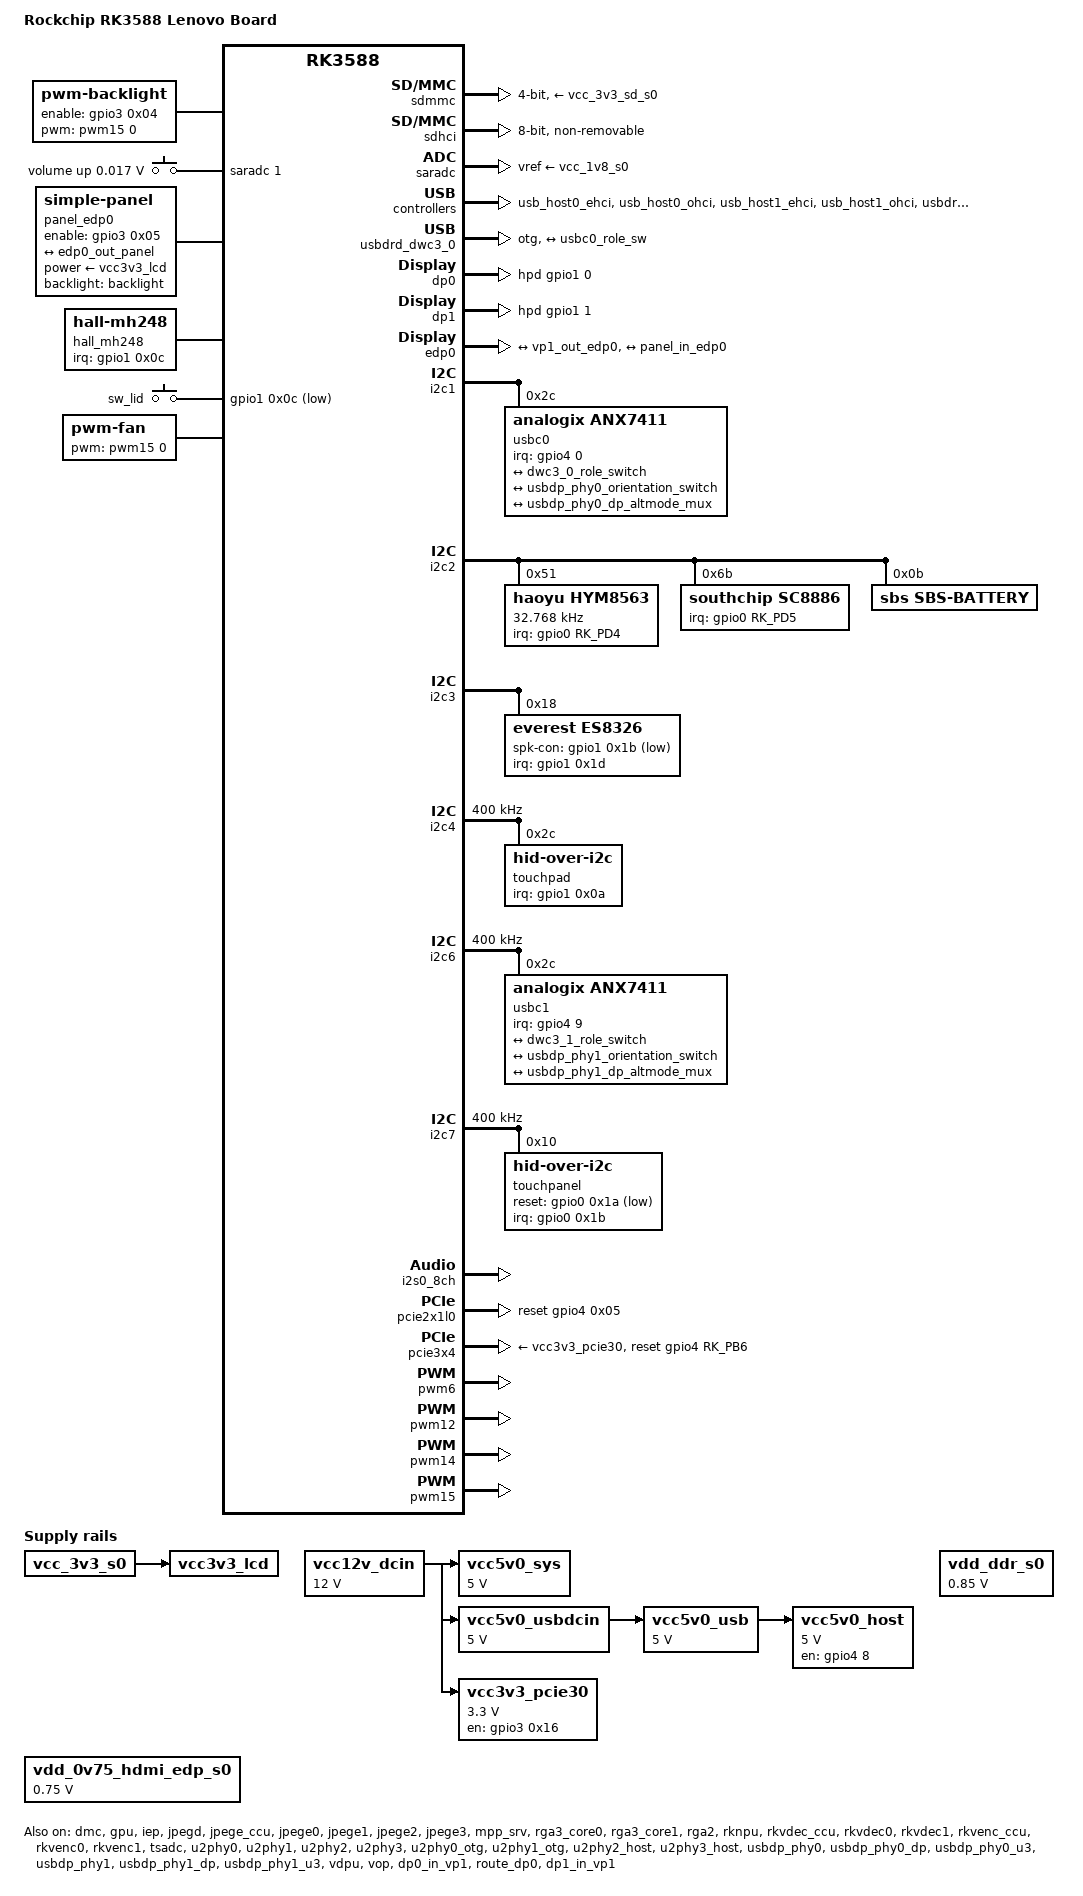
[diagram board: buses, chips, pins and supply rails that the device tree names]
// SPDX-License-Identifier: (GPL-2.0+ OR MIT)
/*
 * Copyright (c) 2021 Rockchip Electronics Co., Ltd.
 *
 */

/dts-v1/;

#include <dt-bindings/gpio/gpio.h>
#include <dt-bindings/pwm/pwm.h>
#include <dt-bindings/pinctrl/rockchip.h>
#include <dt-bindings/input/rk-input.h>
#include <dt-bindings/display/drm_mipi_dsi.h>
#include <dt-bindings/display/rockchip_vop.h>
#include <dt-bindings/sensor-dev.h>
#include "dt-bindings/usb/pd.h"
#include "rk3588.dtsi"
#include "rk3588-rk806-dual.dtsi"
#include "rk3588-linux.dtsi"

/ {
	model = "Rockchip RK3588 Lenovo Board";
	compatible = "rockchip,rk3588-lenovo", "rockchip,rk3588";

	aliases {
		mmc0 = &sdhci;
		mmc1 = &sdio;
		mmc2 = &sdmmc;
		serial0 = &uart0;
		serial1 = &uart1;
		serial2 = &uart2;
		serial3 = &uart3;
		serial4 = &uart4;
		serial5 = &uart5;
		serial6 = &uart6;
		serial7 = &uart7;
		serial8 = &uart8;
		serial9 = &uart9;
	};

	cspmu: cspmu@fd10c000 {
		compatible = "rockchip,cspmu";
		reg = <0x0 0xfd10c000 0x0 0x1000>,
		      <0x0 0xfd10d000 0x0 0x1000>,
		      <0x0 0xfd10e000 0x0 0x1000>,
		      <0x0 0xfd10f000 0x0 0x1000>,
		      <0x0 0xfd12c000 0x0 0x1000>,
		      <0x0 0xfd12d000 0x0 0x1000>,
		      <0x0 0xfd12e000 0x0 0x1000>,
		      <0x0 0xfd12f000 0x0 0x1000>;
	};

	debug: debug@fd104000 {
		compatible = "rockchip,debug";
		reg = <0x0 0xfd104000 0x0 0x1000>,
		      <0x0 0xfd105000 0x0 0x1000>,
		      <0x0 0xfd106000 0x0 0x1000>,
		      <0x0 0xfd107000 0x0 0x1000>,
		      <0x0 0xfd124000 0x0 0x1000>,
		      <0x0 0xfd125000 0x0 0x1000>,
		      <0x0 0xfd126000 0x0 0x1000>,
		      <0x0 0xfd127000 0x0 0x1000>;
	};

	fiq_debugger: fiq-debugger {
		compatible = "rockchip,fiq-debugger";
		rockchip,serial-id = <2>;
		rockchip,wake-irq = <0>;
		/* If enable uart uses irq instead of fiq */
		rockchip,irq-mode-enable = <1>;
		rockchip,baudrate = <1500000>;  /* Only 115200 and 1500000 */
		interrupts = <GIC_SPI 423 IRQ_TYPE_LEVEL_LOW>;
		pinctrl-names = "default";
		pinctrl-0 = <&uart2m1_xfer>;
		status = "okay";
	};

	reserved_memory: reserved-memory {
		#address-cells = <2>;
		#size-cells = <2>;
		ranges;

		cma {
			compatible = "shared-dma-pool";
			reusable;
			reg = <0x0 (256 * 0x100000) 0x0 (128 * 0x100000)>;
			linux,cma-default;
		};

		drm_logo: drm-logo@00000000 {
			compatible = "rockchip,drm-logo";
			reg = <0x0 0x0 0x0 0x0>;
		};

		drm_cubic_lut: drm-cubic-lut@00000000 {
			compatible = "rockchip,drm-cubic-lut";
			reg = <0x0 0x0 0x0 0x0>;
		};
	};

	backlight: backlight {
		compatible = "pwm-backlight";
		brightness-levels = <
			  0  20  20  21  21  22  22  23
			 23  24  24  25  25  26  26  27
			 27  28  28  29  29  30  30  31
			 31  32  32  33  33  34  34  35
			 35  36  36  37  37  38  38  39
			 40  41  42  43  44  45  46  47
			 48  49  50  51  52  53  54  55
			 56  57  58  59  60  61  62  63
			 64  65  66  67  68  69  70  71
			 72  73  74  75  76  77  78  79
			 80  81  82  83  84  85  86  87
			 88  89  90  91  92  93  94  95
			 96  97  98  99 100 101 102 103
			104 105 106 107 108 109 110 111
			112 113 114 115 116 117 118 119
			120 121 122 123 124 125 126 127
			128 129 130 131 132 133 134 135
			136 137 138 139 140 141 142 143
			144 145 146 147 148 149 150 151
			152 153 154 155 156 157 158 159
			160 161 162 163 164 165 166 167
			168 169 170 171 172 173 174 175
			176 177 178 179 180 181 182 183
			184 185 186 187 188 189 190 191
			192 193 194 195 196 197 198 199
			200 201 202 203 204 205 206 207
			208 209 210 211 212 213 214 215
			216 217 218 219 220 221 222 223
			224 225 226 227 228 229 230 231
			232 233 234 235 236 237 238 239
			240 241 242 243 244 245 246 247
			248 249 250 251 252 253 254 255
		>;
		default-brightness-level = <200>;
		status = "okay";
		pwms = <&pwm15 0 25000 0>;
		enable-gpios = <&gpio3 0x04 GPIO_ACTIVE_HIGH>;
	};
	vcc12v_dcin: vcc12v-dcin {
		compatible = "regulator-fixed";
		regulator-name = "vcc12v_dcin";
		regulator-always-on;
		regulator-boot-on;
		regulator-min-microvolt = <12000000>;
		regulator-max-microvolt = <12000000>;
	};
	vcc5v0_sys: vcc5v0-sys {
		compatible = "regulator-fixed";
		regulator-name = "vcc5v0_sys";
		regulator-always-on;
		regulator-boot-on;
		regulator-min-microvolt = <5000000>;
		regulator-max-microvolt = <5000000>;
		vin-supply = <&vcc12v_dcin>;
	};
	vcc5v0_usbdcin: vcc5v0-usbdcin {
		compatible = "regulator-fixed";
		regulator-name = "vcc5v0_usbdcin";
		regulator-always-on;
		regulator-boot-on;
		regulator-min-microvolt = <5000000>;
		regulator-max-microvolt = <5000000>;
		vin-supply = <&vcc12v_dcin>;
	};
	adc_keys: adc-keys {
		compatible = "adc-keys";
		io-channels = <&saradc 1>;
		io-channel-names = "buttons";
		keyup-threshold-microvolt = <1800000>;
		poll-interval = <100>;
		vol-up-key {
			label = "volume up";
			linux,code = <KEY_VOLUMEUP>;
			press-threshold-microvolt = <17000>;
		};
	};
	es8326_sound: es8326-sound {
		status = "okay";
		compatible = "rockchip,multicodecs-card";
		rockchip,card-name = "rockchip,es8326-sound";
		rockchip,codec-hp-det;
		rockchip,format = "i2s";
		rockchip,mclk-fs = <256>;
		rockchip,cpu = <&i2s0_8ch>;
		rockchip,codec = <&es8326>;
	};
	panel_edp0: panel-edp0 {
		compatible = "simple-panel";
		backlight = <&backlight>;
		enable-gpios = <&gpio3 0x05 GPIO_ACTIVE_HIGH>;
		power-supply = <&vcc3v3_lcd>;
		prepare-delay-ms = <210>;
		enable-delay-ms = <50>;
		unprepare-delay-ms = <160>;
		disable-delay-ms = <120>;
		width-mm = <309>;
		height-mm = <174>;
		panel-timing {
			clock-frequency = <160300000>;
			hactive = <2240>;
			vactive = <1400>;
			hfront-porch = <48>;
			hsync-len = <32>;
			hback-porch = <200>;
			vfront-porch = <3>;
			vsync-len = <5>;
			vback-porch = <60>;
			hsync-active = <0>;
			vsync-active = <0>;
			de-active = <0>;
			pixelclk-active = <0>;
		};
		port {
			panel_in_edp0: endpoint {
				remote-endpoint = <&edp0_out_panel>;
			};
		};
	};
	hall_mh248: hall-mh248 {
		compatible = "hall-mh248";
		pinctrl-names = "default";
		pinctrl-0 = <&mh248_irq_gpio>;
		irq-gpio = <&gpio1 0x0c IRQ_TYPE_LEVEL_LOW>;
		hall-active = <0x00000000>;
		status = "okay";
	};

	hdmi1_sound: hdmi1-sound {
		status = "disabled";
		compatible = "simple-audio-card";
		simple-audio-card,format = "i2s";
		simple-audio-card,mclk-fs = <238>;
		simple-audio-card,name = "rockchip,hdmi1";
		simple-audio-card,cpu {
			sound-dai = <&i2s6_8ch>;
		};
		simple-audio-card,codec {
			sound-dai = <&hdmi1>;
		};

	};

	test_power: test-power {
		status = "okay";
	};
	vcc3v3_pcie30: vcc3v3-pcie30 {
		compatible = "regulator-fixed";
		regulator-name = "vcc3v3_pcie30";
		regulator-min-microvolt = <3300000>;
		regulator-max-microvolt = <3300000>;
		enable-active-high;
		gpios = <&gpio3 0x16 GPIO_ACTIVE_HIGH>;
		startup-delay-us = <5000>;
		vin-supply = <&vcc12v_dcin>;
	};
	vcc5v0_usb: vcc5v0-usb {
		compatible = "regulator-fixed";
		regulator-name = "vcc5v0_usb";
		regulator-always-on;
		regulator-boot-on;
		regulator-min-microvolt = <5000000>;
		regulator-max-microvolt = <5000000>;
		vin-supply = <&vcc5v0_usbdcin>;
	};
	vcc3v3_lcd: vcc3v3-lcd {
		compatible = "regulator-fixed";
		regulator-name = "vcc3v3_lcd";
		vin-supply = <&vcc_3v3_s0>;
	};
	vcc5v0_host: vcc5v0-host {
		compatible = "regulator-fixed";
		regulator-name = "vcc5v0_host";
		regulator-boot-on;
		regulator-always-on;
		regulator-min-microvolt = <5000000>;
		regulator-max-microvolt = <5000000>;
		enable-active-high;
		gpio = <&gpio4 8 GPIO_ACTIVE_HIGH>;
		vin-supply = <&vcc5v0_usb>;
		pinctrl-names = "default";
		pinctrl-0 = <&vcc5v0_host_en>;
	};
	gpio_keys: gpio-keys {
		compatible = "gpio-keys";
		pinctrl-names = "default";
		pinctrl-0 = <&sw_lid>;
		hall-sensor {
			wakeup-event-action = <2>;
			wakeup-source;
			gpios = <&gpio1 0x0c GPIO_ACTIVE_LOW>;
			debounce-interval = <20>;
			label = "sw_lid";
			linux,input-type = <5>;
			linux,code = <KEY_RESERVED>;
		};
	};
	fan: pwm-fan {
		compatible = "pwm-fan";
		cooling-min-state = <0>;
		cooling-max-state = <3>;
		#cooling-cells = <2>;
		pwms = <&pwm15 0 50000 0>;
		cooling-levels = <0 50 100 150 200 255>;
		rockchip,temp-trips = <
			50000	1
			55000	2
			60000	3
			65000	4
			70000	5
		>;
	};
};

&cpu_l0 {
	cpu-supply = <&vdd_cpu_lit_s0>;
	mem-supply = <&vdd_cpu_lit_mem_s0>;
};

&cpu_b0 {
	cpu-supply = <&vdd_cpu_big0_s0>;
	mem-supply = <&vdd_cpu_big0_mem_s0>;
};

&cpu_b2 {
	cpu-supply = <&vdd_cpu_big1_s0>;
	mem-supply = <&vdd_cpu_big1_mem_s0>;
};

&dmc {
	auto-freq-en = <1>;
	status = "okay";
};

&sdmmc {
	max-frequency = <150000000>;
	status = "okay";
	no-sdio;
	no-mmc;
	bus-width = <4>;
	cap-mmc-highspeed;
	cap-sd-highspeed;
	disable-wp;
	sd-uhs-sdr104;
	vmmc-supply = <&vcc_3v3_sd_s0>;
	vqmmc-supply = <&vccio_sd_s0>;
};

&sdhci {
	bus-width = <8>;
	no-sdio;
	no-sd;
	non-removable;
	max-frequency = <200000000>;
	status = "okay";
};

&gpu {
	mali-supply = <&vdd_gpu_s0>;
	mem-supply = <&vdd_gpu_mem_s0>;
	status = "okay";
};

&iep {
	status = "okay";
};

&iep_mmu {
	status = "okay";
};

&jpegd {
	status = "okay";
};

&jpegd_mmu {
	status = "okay";
};

&jpege_ccu {
	status = "okay";
};

&jpege0 {
	status = "okay";
};

&jpege0_mmu {
	status = "okay";
};

&jpege1 {
	status = "okay";
};

&jpege1_mmu {
	status = "okay";
};

&jpege2 {
	status = "okay";
};

&jpege2_mmu {
	status = "okay";
};

&jpege3 {
	status = "okay";
};

&jpege3_mmu {
	status = "okay";
};

&mpp_srv {
	status = "okay";
};

&rga3_core0 {
	status = "okay";
};

&rga3_0_mmu {
	status = "okay";
};

&rga3_core1 {
	status = "okay";
};

&rga3_1_mmu {
	status = "okay";
};

&rga2 {
	status = "okay";
};

&rknpu {
	rknpu-supply = <&vdd_npu_s0>;
	mem-supply = <&vdd_npu_mem_s0>;
	status = "okay";
};

&rknpu_mmu {
	status = "okay";
};

&rkvdec_ccu {
	status = "okay";
};

&rkvdec0 {
	status = "okay";
};

&rkvdec0_mmu {
	status = "okay";
};

&rkvdec1 {
	status = "okay";
};

&rkvdec1_mmu {
	status = "okay";
};

&rkvenc_ccu {
	status = "okay";
};

&rkvenc0 {
	status = "okay";
};

&rkvenc0_mmu {
	status = "okay";
};

&rkvenc1 {
	status = "okay";
};

&rkvenc1_mmu {
	status = "okay";
};

&rockchip_suspend {
	status = "disabled";
	rockchip,sleep-debug-en = <1>;
};

&saradc {
	status = "okay";
	vref-supply = <&vcc_1v8_s0>;
};

&tsadc {
	status = "okay";
};

&u2phy0 {
	status = "okay";
};

&u2phy1 {
	status = "okay";
};

&u2phy2 {
	status = "okay";
};

&u2phy3 {
	status = "okay";
};

&u2phy0_otg {
	dr_mode = "otg";
	status = "okay";
};

&u2phy1_otg {
	status = "okay";
};

&u2phy2_host {
	status = "okay";
};

&u2phy3_host {
	status = "okay";
};

&usb_host0_ehci {
	status = "okay";
};

&usb_host0_ohci {
	status = "okay";
};

&usb_host1_ehci {
	status = "okay";
};

&usb_host1_ohci {
	status = "okay";
};

&usbdp_phy0 {
	orientation-switch;
	svid = <0xff01>;
	sbu1-dc-gpios = <&gpio4 RK_PA4 GPIO_ACTIVE_HIGH>;
	sbu2-dc-gpios = <&gpio4 RK_PA5 GPIO_ACTIVE_HIGH>;
	status = "okay";
	port {
		#address-cells = <1>;
		#size-cells = <0>;
		usbdp_phy0_orientation_switch: endpoint@0 {
			reg = <0>;
			remote-endpoint = <&usbc0_orien_sw>;
		};

		usbdp_phy0_dp_altmode_mux: endpoint@1 {
			reg = <1>;
			remote-endpoint = <&usbc0_dp_altmode_mux>;
		};
	};
};

&usbdp_phy0_dp {
	status = "okay";
};

&usbdp_phy0_u3 {
	status = "okay";
};

&usbdrd3_0 {
	status = "okay";
};

&usbdrd_dwc3_0 {
	dr_mode = "otg";
	status = "okay";
	usb-role-switch;
	port {
		#address-cells = <1>;
		#size-cells = <0>;
		dwc3_0_role_switch: endpoint@0 {
			reg = <0>;
			remote-endpoint = <&usbc0_role_sw>;
		};
	};
};

&usbhost3_0 {
	status = "okay";
};

&usbhost_dwc3_0 {
	status = "okay";
};

&usbdp_phy1 {
	orientation-switch;
	svid = <0xff01>;
	sbu1-dc-gpios = <&gpio4 RK_PA4 GPIO_ACTIVE_HIGH>;
	sbu2-dc-gpios = <&gpio4 RK_PA5 GPIO_ACTIVE_HIGH>;
	status = "okay";

	port {
		#address-cells = <1>;
		#size-cells = <0>;
		usbdp_phy1_orientation_switch: endpoint@0 {
			reg = <0>;
			remote-endpoint = <&usbc1_orien_sw>;
		};

		usbdp_phy1_dp_altmode_mux: endpoint@1 {
			reg = <1>;
			remote-endpoint = <&usbc1_dp_altmode_mux>;
		};

	};
};

&usbdp_phy1_dp {
	status = "okay";
};

&usbdp_phy1_u3 {
	status = "okay";
};

&usbdrd3_1 {
	status = "okay";
};

&usbdrd_dwc3_1 {
	dr_mode = "otg";
	status = "disabled";
	usb-role-switch;
	port {
		#address-cells = <1>;
		#size-cells = <0>;
		dwc3_1_role_switch: endpoint@0 {
			reg = <0>;
			remote-endpoint = <&usbc1_role_sw>;
		};
	};
};

&csi2_dphy0_hw {
	status = "disabled";
};

&csi2_dphy1_hw {
	status = "disabled";
};

&vdpu {
	status = "okay";
};

&vdpu_mmu {
	status = "okay";
};

&vop {
	status = "okay";
};

&vop_mmu {
	status = "okay";
};

/* vp0 & vp1 splice for 8K output */
&vp0 {
	cursor-win-id=<ROCKCHIP_VOP2_CLUSTER0>;
	rockchip,plane-mask = <(1 << ROCKCHIP_VOP2_CLUSTER0 | 1 << ROCKCHIP_VOP2_ESMART0)>;
	rockchip,primary-plane = <ROCKCHIP_VOP2_ESMART0>;
};

&vp1 {
	cursor-win-id=<ROCKCHIP_VOP2_CLUSTER1>;
	rockchip,plane-mask = <(1 << ROCKCHIP_VOP2_CLUSTER1 | 1 << ROCKCHIP_VOP2_ESMART1)>;
	rockchip,primary-plane = <ROCKCHIP_VOP2_ESMART1>;
};

&vp2 {
	cursor-win-id=<ROCKCHIP_VOP2_CLUSTER2>;
	rockchip,plane-mask = <(1 << ROCKCHIP_VOP2_CLUSTER2 | 1 << ROCKCHIP_VOP2_ESMART2)>;
	rockchip,primary-plane = <ROCKCHIP_VOP2_ESMART2>;
};

&vp3 {
	cursor-win-id=<ROCKCHIP_VOP2_CLUSTER3>;
	rockchip,plane-mask = <(1 << ROCKCHIP_VOP2_CLUSTER3 | 1 << ROCKCHIP_VOP2_ESMART3)>;
	rockchip,primary-plane = <ROCKCHIP_VOP2_ESMART3>;
};

&vdd_gpu_s0 {
	regulator-always-on;
};

&vdd_gpu_mem_s0 {
	regulator-always-on;
};

&vdd_ddr_s0 {
	regulator-min-microvolt = <850000>;
	regulator-max-microvolt = <850000>;
};

&vdd_0v75_hdmi_edp_s0 {
	regulator-min-microvolt = <750000>;
	regulator-max-microvolt = <750000>;
};

&dp0 {
	status = "okay";
	pinctrl-names = "default";
	pinctrl-0 = <&dp0_hpd>;
	hpd-gpios = <&gpio1 0 GPIO_ACTIVE_HIGH>;
};

&dp0_in_vp1 {
	status = "okay";
};

&route_dp0 {
	status = "okay";
	connect = <&vp2_out_dp0>;
};


&dp1 {
	status = "okay";
	pinctrl-names = "default";
	pinctrl-0 = <&dp1_hpd>;
	hpd-gpios = <&gpio1 1 GPIO_ACTIVE_HIGH>;
};

&dp1_in_vp1 {
	status = "okay";
};

&route_dp1 {
	status = "okay";
	connect = <&vp2_out_dp1>;
};

&edp0 {
	force-hpd;
	status = "okay";
	ports {
		port@0 {
			edp0_out_vop: endpoint@1 {
				reg = <1>;
				remote-endpoint = <&vp1_out_edp0>;
				status = "okay";
			};
		};
		port@1 {
			reg = <1>;
			edp0_out_panel: endpoint {
				remote-endpoint = <&panel_in_edp0>;
			};
		};
	};
};

&edp0_in_vp0 {
	status = "disabled";
};

&edp0_in_vp1 {
	status = "disabled";
};

&edp0_in_vp2 {
	status = "okay";
};

&u2phy2 {
	status = "okay";
	host-port {
		phy-supply = <&vcc5v0_host>;
	};
};

&u2phy3 {
	status = "okay";
	host-port {
		phy-supply = <&vcc5v0_host>;
	};
};

&hdptxphy0 {
	status = "okay";
	lane-polarity-invert = <0 0 0 0>;
};


&i2c1 {
	pinctrl-names = "default";
	pinctrl-0 = <&i2c1m0_xfer>;
	status = "okay";

	usbc0: anx7411@2c {
		status = "okay";
		compatible = "analogix,anx7411";
		reg = <0x2c>;
		#address-cells = <0x00000001>;
		#size-cells = <0x00000000>;
		interrupt-parent = <&gpio4>;
		interrupts = <0 IRQ_TYPE_LEVEL_LOW>;
		extcon = <&u2phy0>;
		pinctrl-names = "default";
		pinctrl-0 = <&usbc0_int>;


		port {
			#address-cells = <1>;
			#size-cells = <0>;

			usbc0_role_sw: endpoint@0 {
				reg = <0>;
				remote-endpoint = <&dwc3_0_role_switch>;
			};

		};
		usb_con: connector@0 {
			compatible = "usb-c-connector";
			reg = <0x00000000>;
			power-role = "dual";
			data-role = "dual";
			try-power-role = "sink";

			altmodes {
				#address-cells = <1>;
				#size-cells = <0>;

				altmode@0 {
					reg = <0>;
					svid = <0xff01>;
					vdo = <0xffffffff>;
				};
			};

			ports {
				#address-cells = <1>;
				#size-cells = <0>;

				port@0 {
					reg = <0>;
					usbc0_orien_sw: endpoint {
						remote-endpoint = <&usbdp_phy0_orientation_switch>;
					};
				};

				port@1 {
					reg = <1>;
					usbc0_dp_altmode_mux: endpoint {
						remote-endpoint = <&usbdp_phy0_dp_altmode_mux>;
					};
				};
			};
		};
	};
};

&i2c2 {
	status = "okay";

	hym8563: hym8563@51 {
		compatible = "haoyu,hym8563";
		reg = <0x51>;
		#clock-cells = <0>;
		clock-frequency = <32768>;
		clock-output-names = "hym8563";
		pinctrl-names = "default";
		pinctrl-0 = <&hym8563_int>;
		interrupt-parent = <&gpio0>;
		interrupts = <RK_PD4 IRQ_TYPE_LEVEL_LOW>;
	};

	sc8886: sc8886@6b {
		compatible = "southchip,sc8886";
		reg = <0x6b>;
		ti,usb-charger-detection = <&usbc0 &usbc1>;
		interrupt-parent = <&gpio0>;
		interrupts = <RK_PD5 IRQ_TYPE_LEVEL_LOW>;
		pinctrl-names = "default";
		pinctrl-0 = <&charger_ok>;
		extcon = <&u2phy0 &u2phy3>;
		ti,charge-current = <2500000>;
		ti,max-input-voltage = <20000000>;
		ti,max-input-current = <6000000>;
		ti,max-charge-voltage = <16800000>;
		ti,input-current = <500000>;
		ti,input-current-sdp = <500000>;
		ti,input-current-dcp = <2000000>;
		ti,input-current-cdp = <2000000>;
		ti,minimum-sys-voltage = <7400000>;
		ti,otg-voltage = <5000000>;
		ti,otg-current = <500000>;
		pd-charge-only = <0>;
		status = "okay";
	};

	sbs: sbs@b {
		status = "okay";
		compatible = "sbs,sbs-battery";
		reg = <0xb>;
		sbs,poll-retry-count = <100>;
		sbs,i2c-retry-count = <100>;
	};
};

&i2c3 {
	status = "okay";

	es8326: es8326@18 {
		status = "okay";
		compatible = "everest,es8326";
		reg = <0x18>;
		#sound-dai-cells = <0>;
		clocks = <&cru I2S0_8CH_MCLKOUT>;
		clock-names = "mclk";
		assigned-clocks = <&cru I2S0_8CH_MCLKOUT>;
		assigned-clock-rates = <12288000>;
		pinctrl-names = "default";
		pinctrl-0 = <&i2s1m0_mclk>;
		interrupt-parent = <&gpio1>;
		interrupts = <0x1d IRQ_TYPE_EDGE_RISING>;
		mclk-rate = <12288000>;
		mic1-src = [22];
		mic2-src = [44];
		jack-pol = [0e];
		spk-con-gpio = <&gpio1 0x1b GPIO_ACTIVE_LOW>;
	};
};

&i2c4 {
	status = "okay";
	pinctrl-names = "default";
	pinctrl-0 = <&i2c4m3_xfer>;
	clock-frequency = <400000>;

	touchpad: touchpad@2c {
		compatible = "hid-over-i2c";
		reg = <0x2c>;
		hid-descr-addr = <0x20>;
		interrupt-parent = <&gpio1>;
		interrupts = <0x0a IRQ_TYPE_LEVEL_LOW>;
		pinctrl-names = "default";
		pinctrl-0 = <&touchpad_irq_gpio >;
		status = "okay";
	};
};

&i2c6 {
	status = "okay";
	clock-frequency = <400000>;

	usbc1: anx7411@2c {
		status = "okay";
		compatible = "analogix,anx7411";
		reg = <0x2c>;
		#address-cells = <0x00000001>;
		#size-cells = <0x00000000>;
		interrupt-parent = <&gpio4>;
		interrupts = <9 IRQ_TYPE_LEVEL_LOW>;
		extcon = <&u2phy3>;
		pinctrl-names = "default";
		pinctrl-0 = <&usbc1_int>;

		port {
			#address-cells = <1>;
			#size-cells = <0>;

			usbc1_role_sw: endpoint@0 {
				reg = <0>;
				remote-endpoint = <&dwc3_1_role_switch>;
			};
		};
		usb_con1: connector@0 {
			compatible = "usb-c-connector";
			reg = <0x00000000>;
			power-role = "dual";
			data-role = "dual";
			try-power-role = "sink";

			altmodes {
				#address-cells = <1>;
				#size-cells = <0>;

				altmode@0 {
					reg = <0>;
					svid = <0xff01>;
					vdo = <0xffffffff>;
				};
			};

			ports {
				#address-cells = <1>;
				#size-cells = <0>;

				port@0 {
					reg = <0>;
					usbc1_orien_sw: endpoint {
						remote-endpoint = <&usbdp_phy1_orientation_switch>;
					};
				};

				port@1 {
					reg = <1>;
					usbc1_dp_altmode_mux: endpoint {
						remote-endpoint = <&usbdp_phy1_dp_altmode_mux>;
					};
				};
			};
		};
	};
};

&i2c7 {
	status = "okay";
	pinctrl-names = "default";
	pinctrl-0 = <&i2c7m0_xfer>;
	clock-frequency = <400000>;

	touchpanel: touchpanel@10 {
		compatible = "hid-over-i2c";
		reg = <0x10>;
		hid-descr-addr = <0x10>;
		interrupt-parent = <&gpio0>;
		interrupts = <0x1b IRQ_TYPE_LEVEL_LOW>;
		pinctrl-names = "default";
		pinctrl-0 = <&touchpanel_pwr_en>;
		reset-gpios = <&gpio0 0x1a GPIO_ACTIVE_LOW>;
		status = "okay";
	};
};

&i2s0_8ch {
	status = "okay";
};

&pcie30phy {
	rockchip,pcie30-phymode = <PHY_MODE_PCIE_AGGREGATION>;
	status = "okay";
};

&combphy0_ps {
	status = "okay";
};

&combphy1_ps {
    status = "okay";
};

&combphy2_psu {
	status = "okay";
};
&pcie2x1l0 {
	status = "okay";
	reset-gpios = <&gpio4 0x05 GPIO_ACTIVE_HIGH>;
};

&pcie3x4 {
	reset-gpios = <&gpio4 RK_PB6 GPIO_ACTIVE_HIGH>;
	vpcie3v3-supply = <&vcc3v3_pcie30>;
	status = "okay";
};

&pwm6 {
	pinctrl-names = "active";
	pinctrl-0 = <&pwm6m1_pins>;
	status = "okay";
};

&pwm12 {
	pinctrl-names = "active";
	pinctrl-0 = <&pwm12m1_pins>;
	status = "okay";
};

&pwm14 {
	pinctrl-names = "active";
	pinctrl-0 = <&pwm14m0_pins>;
	status = "okay";
};

&pwm15 {
	pinctrl-names = "active";
	pinctrl-0 = <&pwm15m3_pins>;
	#pwm-cells = <3>;
	status = "okay";
};

&display_subsystem {
	memory-region = <&drm_logo>;
	memory-region-names = "drm-logo";
};

&rng {
	status = "okay";
};

&pinctrl {
	hp_det {
		hp_det_gpio: hp-det-gpio {
			rockchip,pins = <1 RK_PB5 RK_FUNC_GPIO &pcfg_pull_up>;
		};
	};
	hym8563 {
		hym8563_int: hym8563-int {
			rockchip,pins = <0 RK_PD4 RK_FUNC_GPIO &pcfg_pull_up>;
		};
	};
	sc8886 {
		charger_ok: charger-ok {
			rockchip,pins = <0 0x00000014 RK_FUNC_GPIO &pcfg_pull_up>;
			phandle = <0x00000125>;
		};
	};
	sbs {
		sbs_detect: sbs-detect {
			rockchip,pins = <1 0x00000008 RK_FUNC_GPIO &pcfg_pull_none>;
		};
	};
	sensor {
		mh248_irq_gpio: mh248-irq-gpio {
			rockchip,pins = <1 0x0000000c RK_FUNC_GPIO &pcfg_pull_up>;
		};
	};
	spk_ctl {
		spk_ctl_gpio: spk-ctl-gpio {
			rockchip,pins = <1 0x0000001b RK_FUNC_GPIO &pcfg_pull_none>;
		};
	};
	touchpad {
		touchpad_irq_gpio: touchpad_irq_gpio {
			rockchip,pins = <1 0x0000000a RK_FUNC_GPIO &pcfg_pull_up>;
		};
	};
	touchpanel {
		touchpanel_pwr_en: touchpanel_pwr_en {
			rockchip,pins = <3 0x0000001c RK_FUNC_GPIO &pcfg_output_high>;
		};
	};
	usb {
		vcc5v0_host_en: vcc5v0-host-en {
			rockchip,pins = <4 0x00000008 0x00000000 0x00000175 0x00000003 0x00000009 RK_FUNC_GPIO &pcfg_output_high>;
		};
	};
	keys {
		sw_lid: sw-lid {
			rockchip,pins = <1 0x0000000c RK_FUNC_GPIO &pcfg_pull_none>;
		};
	};
	usb-typec {
		usbc0_int: usbc0-int {
			rockchip,pins = <4 0x00000009 RK_FUNC_GPIO &pcfg_pull_up>;
		};
		usbc1_int: usbc1-int {
			rockchip,pins = <4 0x0000000f RK_FUNC_GPIO &pcfg_pull_up>;
		};
		typec5v_pwren: typec5v-pwren {
			rockchip,pins = <3 0x00000008 RK_FUNC_GPIO &pcfg_pull_none>;
		};
	};
	dp {
		dp0_hpd: dp0-hpd {
			rockchip,pins = <1 0x00000000 RK_FUNC_GPIO &pcfg_pull_none>;
		};
		dp1_hpd: dp1-hpd {
			rockchip,pins = <1 0x00000001 RK_FUNC_GPIO &pcfg_pull_none>;
		};
	};
};

